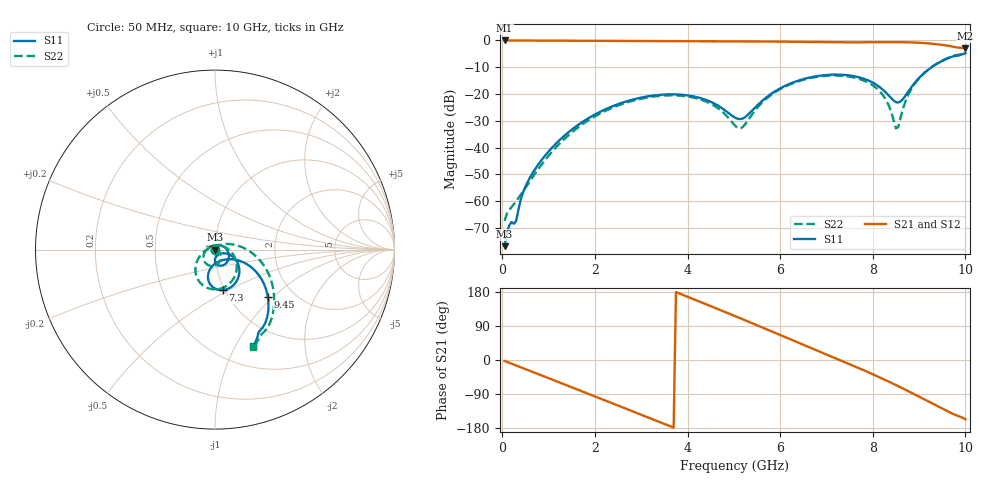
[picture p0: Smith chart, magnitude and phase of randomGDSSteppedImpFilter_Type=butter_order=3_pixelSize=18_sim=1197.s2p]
! freq	dB(S11)	phase(S11)	dB(S12)	phase(S12)
!  dB(S21)	phase(S21)	dB(S22)	phase(S22)
!S-par simulation data
#  GHz  S  DB  R 50
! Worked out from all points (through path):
!   200 points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, 50 MHz to 10 GHz, reference 50 ohm
!   highest |S21| = 0.00 dB at 50 MHz (marker M1); lowest = -2.9 dB at 10 GHz (marker M2)
!   group delay of S21, straight-line fit = 142 ps
!   lowest |S11| = -76.8 dB at 50 MHz (marker M3), VSWR 1.00, Z = 50 - j0.0133 ohm
!   |S11| at or under -10 dB: start of sweep to 9.27 GHz
!   |S22| runs from -67.3 to -4.7 dB; largest |S21 - S12| = 0
!   S11 on the Smith chart (normalised r, x): 50 MHz: 1.00, -0.00; 7.3 GHz: 0.98, -0.47; 9.45 GHz: 1.49, -0.93; 10 GHz: 0.73, -1.18
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0.05  -76.79 -67.1  -0.00 -2.4  -0.00 -2.4  -67.35 -47.8
0.15  -68.97 -97.3  -0.01 -7.2  -0.01 -7.2  -63.28 -34.6
0.3  -67.36 -160.1  -0.02 -14.4  -0.02 -14.4  -59.98 -33.2
0.45  -56.67 159.1  -0.03 -21.6  -0.03 -21.6  -56.29 -29.5
0.7  -48.28 132.8  -0.04 -33.6  -0.04 -33.6  -49.92 -20.8
1.75  -30.22 47.3  -0.10 -84.0  -0.10 -84.0  -31.07 -30.7
2.5  -23.78 1.9  -0.16 -120.2  -0.16 -120.2  -24.29 -58.5
3.4  -20.31 -45.2  -0.24 -163.8  -0.24 -163.8  -20.68 -98.7
4.4  -22.20 -86.4  -0.30 147.2  -0.30 147.2  -22.82 -152.0
5.05  -29.03 -69.6  -0.32 114.7  -0.32 114.7  -32.21 125.7
5.2  -29.06 -46.2  -0.33 107.1  -0.33 107.1  -32.15 74.2
5.85  -19.43 -21.6  -0.42 73.8  -0.42 73.8  -19.79 -13.7
6.7  -13.62 -53.1  -0.61 30.2  -0.61 30.2  -13.88 -64.3
7.3  -12.78 -78.7  -0.71 -0.6  -0.71 -0.6  -13.15 -97.0
7.95  -15.31 -102.7  -0.67 -34.9  -0.67 -34.9  -16.21 -134.9
8.35  -20.67 -98.9  -0.62 -57.3  -0.62 -57.3  -24.47 -170.9
8.5  -23.04 -76.5  -0.63 -66.1  -0.63 -66.1  -32.83 129.3
8.55  -23.19 -65.0  -0.63 -69.1  -0.63 -69.1  -32.34 82.6
8.7  -20.76 -35.7  -0.67 -78.1  -0.67 -78.1  -23.00 26.9
8.85  -17.08 -25.1  -0.74 -87.4  -0.74 -87.4  -17.64 9.3
9.45  -8.09 -41.7  -1.54 -125.1  -1.54 -125.1  -8.00 -35.0
10  -4.76 -68.5  -2.89 -156.3  -2.89 -156.3  -4.67 -68.5
